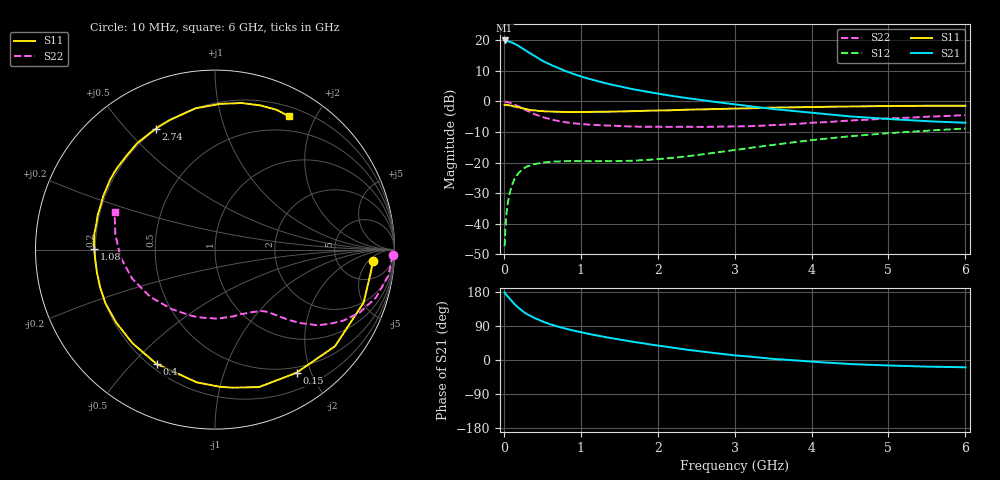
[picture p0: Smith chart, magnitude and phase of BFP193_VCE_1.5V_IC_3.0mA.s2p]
! Infineon Technologies  Discrete & RF Semiconductors
! BFP193
! VCE = 1.5 V,  IC =  3.0 mA
! Common Emitter S-Parameters:  Jan 2016
# GHz  S  MA  R  50
!  f  S11  S21  S12  S22
! GHz  MAG  ANG  MAG  ANG  MAG  ANG  MAG  ANG
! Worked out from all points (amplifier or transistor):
!   210 points, 10 MHz to 6 GHz, reference 50 ohm
!   highest |S21| = 19.9 dB at 10 MHz (marker M1)
!   |S21| within 3 dB of that: start of sweep to 265.8 MHz
!   unconditionally stable (mu >= 1): 1.432 GHz to 3.707 GHz
!   at 185 MHz: K = 0.15, MSG = 21.0 dB, |S12| = -23.7 dB
!   at 1.52 GHz: K = 1.04, MAG = 10.9 dB, |S12| = -19.5 dB
!   at 6 GHz: K = 0.97, MSG = 0.9 dB, |S12| = -8.9 dB
!   S11 on the Smith chart (normalised r, x): 10 MHz: 12, -7; 150 MHz: 0.42, -1.79; 400 MHz: 0.23, -0.59; 1.08 GHz: 0.20, +0.00; 2.74 GHz: 0.20, +0.61; 6 GHz: 0.31, +1.66
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0.01  0.8824 -4.1  9.926 178.6  0.0043 89.1  0.9929 -1.8
0.02  0.8775 -8.0  9.789 174.8  0.0086 85.7  0.9857 -3.4
0.05  0.8792 -19.6  9.712 167.7  0.0213 79.5  0.9767 -8.6
0.1  0.8586 -38.8  9.276 156.3  0.0409 69.8  0.9358 -16.6
0.15  0.8228 -56.5  8.65 144.8  0.0573 60.3  0.8789 -23.5
0.2  0.8043 -72.2  7.991 136.1  0.0693 53.2  0.8184 -28.9
0.26  0.7644 -88.1  7.102 126.5  0.0805 46.0  0.7473 -33.8
0.3  0.7466 -97.8  6.605 121.0  0.0862 42.3  0.7061 -36.6
0.4  0.7153 -117.1  5.518 110.5  0.0946 34.6  0.6172 -41.3
0.5  0.6955 -131.3  4.624 101.7  0.0999 29.7  0.5557 -44.2
0.6  0.6846 -143.4  4.019 94.4  0.1029 26.2  0.513 -46.3
0.8  0.674 -161.6  3.145 82.9  0.1055 22.3  0.4564 -49.7
1.02  0.6703 -176.9  2.519 72.6  0.1055 21.0  0.4258 -53.5
1.08  0.6728 179.6  2.394 69.9  0.1054 20.8  0.4201 -54.7
1.3  0.6765 167.6  2.014 61.2  0.106 21.4  0.4047 -59.0
1.6  0.6903 154.5  1.656 50.5  0.1068 24.7  0.3919 -66.0
2.02  0.711 138.8  1.328 37.6  0.1144 30.7  0.3843 -76.9
2.74  0.7497 116.0  0.985 18.4  0.1445 38.4  0.3851 -99.4
3.1  0.7681 106.9  0.864 10.6  0.1671 39.2  0.3918 -112.1
4.1  0.8144 86.4  0.633 -5.6  0.24 33.7  0.4526 -147.7
5.1  0.843 71.3  0.507 -15.1  0.3085 22.2  0.5326 -178.2
6  0.8497 60.8  0.448 -19.2  0.3607 10.7  0.5977 159.4
